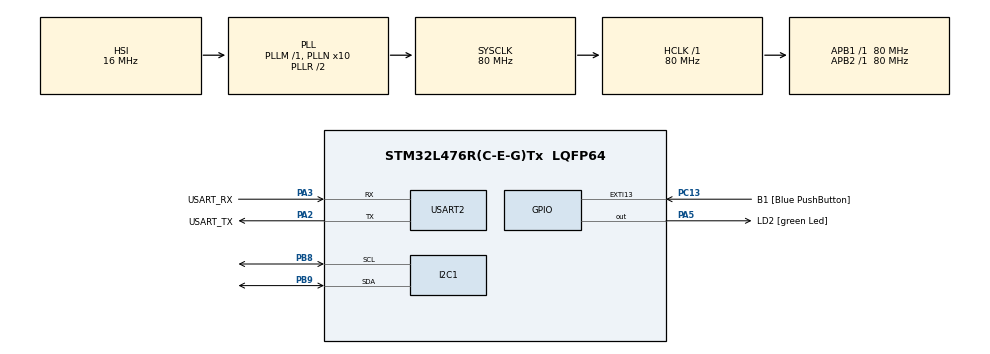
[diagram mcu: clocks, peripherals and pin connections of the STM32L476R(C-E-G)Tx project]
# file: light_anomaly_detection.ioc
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I2C1.Timing=0x10D19CE4
Mcu.Family=STM32L4
Mcu.Name=STM32L476R(C-E-G)Tx
Mcu.Package=LQFP64
NVIC.PriorityGroup=NVIC_PRIORITYGROUP_4
PA13\ (JTMS-SWDIO).GPIO_Label=TMS
PA13\ (JTMS-SWDIO).Mode=Serial_Wire
PA13\ (JTMS-SWDIO).Signal=SYS_JTMS-SWDIO
PA14\ (JTCK-SWCLK).GPIO_Label=TCK
PA14\ (JTCK-SWCLK).Mode=Serial_Wire
PA14\ (JTCK-SWCLK).Signal=SYS_JTCK-SWCLK
PA2.GPIO_Label=USART_TX
PA2.GPIO_Mode=GPIO_MODE_AF_PP
PA2.GPIO_PuPd=GPIO_NOPULL
PA2.GPIO_Speed=GPIO_SPEED_FREQ_VERY_HIGH
PA2.Mode=Asynchronous
PA2.Signal=USART2_TX
PA3.GPIO_Label=USART_RX
PA3.GPIO_Mode=GPIO_MODE_AF_PP
PA3.GPIO_PuPd=GPIO_NOPULL
PA3.GPIO_Speed=GPIO_SPEED_FREQ_VERY_HIGH
PA3.Mode=Asynchronous
PA3.Signal=USART2_RX
PA5.GPIO_Label=LD2 [green Led]
PA5.GPIO_ModeDefaultOutputPP=GPIO_MODE_OUTPUT_PP
PA5.GPIO_PuPd=GPIO_NOPULL
PA5.GPIO_Speed=GPIO_SPEED_FREQ_LOW
PA5.Signal=GPIO_Output
PB3\ (JTDO-TRACESWO).GPIO_Label=SWO
PB3\ (JTDO-TRACESWO).Signal=SYS_JTDO-SWO
PB8.Mode=I2C
PB8.Signal=I2C1_SCL
PB9.Mode=I2C
PB9.Signal=I2C1_SDA
PC13.GPIO_Label=B1 [Blue PushButton]
PC13.GPIO_ModeDefaultEXTI=GPIO_MODE_IT_FALLING
PC13.GPIO_PuPd=GPIO_NOPULL
PC13.Signal=GPXTI13
PC14-OSC32_IN\ (PC14).Mode=LSE-External-Oscillator
PC14-OSC32_IN\ (PC14).Signal=RCC_OSC32_IN
PC15-OSC32_OUT\ (PC15).Mode=LSE-External-Oscillator
PC15-OSC32_OUT\ (PC15).Signal=RCC_OSC32_OUT
PH0-OSC_IN\ (PH0).Signal=RCC_OSC_IN
PH1-OSC_OUT\ (PH1).Signal=RCC_OSC_OUT
ProjectManager.HeapSize=0x200
ProjectManager.StackSize=0x400
ProjectManager.TargetToolchain=STM32CubeIDE
RCC.ADCFreq_Value=64000000
RCC.AHBFreq_Value=80000000
RCC.APB1Freq_Value=80000000
RCC.APB1TimFreq_Value=80000000
RCC.APB2Freq_Value=80000000
RCC.APB2TimFreq_Value=80000000
RCC.CortexFreq_Value=80000000
RCC.HCLKFreq_Value=80000000
RCC.HSE_VALUE=8000000
RCC.HSI_VALUE=16000000
RCC.MSI_VALUE=4000000
RCC.PLLN=10
RCC.PLLSourceVirtual=RCC_PLLSOURCE_HSI
RCC.PREFETCH_ENABLE=1
RCC.SYSCLKFreq_VALUE=80000000
RCC.SYSCLKSource=RCC_SYSCLKSOURCE_PLLCLK
RCC.USBFreq_Value=64000000
RCC.VCOOutputFreq_Value=160000000
USART2.VirtualMode-Asynchronous=VM_ASYNC
board=NUCLEO-L476RG

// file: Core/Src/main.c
/* USER CODE BEGIN Header */
/**
  ******************************************************************************
  * @file           : main.c
  * @brief          : Main program body
  ******************************************************************************
  * @attention
  *
  * Copyright (c) 2024 STMicroelectronics.
  * All rights reserved.
  *
  * This software is licensed under terms that can be found in the LICENSE file
  * in the root directory of this software component.
  * If no LICENSE file comes with this software, it is provided AS-IS.
  *
  ******************************************************************************
  */
/* USER CODE END Header */
#include "main.h"

/* USER CODE BEGIN Includes */
#include "bh1750.h"
#include "stdio.h"
#include "string.h"
#include "NanoEdgeAI.h"
/* USER CODE END Includes */

/* USER CODE BEGIN PD */
#define DATA_INPUT_USER 256
#define AXIS_NUMBER 1
#define NUMBER_LEARN 40
/* USER CODE END PD */

I2C_HandleTypeDef hi2c1;

UART_HandleTypeDef huart2;

/* USER CODE BEGIN PV */
float light;
float light_buffer[DATA_INPUT_USER * AXIS_NUMBER] = { 0 };
uint8_t similarity = 0;
/* USER CODE END PV */

void SystemClock_Config(void);
static void MX_GPIO_Init(void);
static void MX_USART2_UART_Init(void);
static void MX_I2C1_Init(void);
/* USER CODE BEGIN PFP */
void fill_light_buffer();
void Train();
void Inference();
/* USER CODE END PFP */

int main(void)
{

  /* MCU Configuration--------------------------------------------------------*/

  /* Reset of all peripherals, Initializes the Flash interface and the Systick. */
  HAL_Init();

  /* Configure the system clock */
  SystemClock_Config();

  /* Initialize all configured peripherals */
  MX_GPIO_Init();
  MX_USART2_UART_Init();
  MX_I2C1_Init();
  /* USER CODE BEGIN 2 */
  BH1750_Init(&hi2c1);
  neai_anomalydetection_init();  // wait for 1 sec
   Train();
  /* USER CODE END 2 */

  /* Infinite loop */
  /* USER CODE BEGIN WHILE */
  while (1)
  {
	  Inference();
    /* USER CODE END WHILE */

  }
}

void SystemClock_Config(void)
{
  RCC_OscInitTypeDef RCC_OscInitStruct = {0};
  RCC_ClkInitTypeDef RCC_ClkInitStruct = {0};

  /** Configure the main internal regulator output voltage
  */
  if (HAL_PWREx_ControlVoltageScaling(PWR_REGULATOR_VOLTAGE_SCALE1) != HAL_OK)
  {
    Error_Handler();
  }

  /** Initializes the RCC Oscillators according to the specified parameters
  * in the RCC_OscInitTypeDef structure.
  */
  RCC_OscInitStruct.OscillatorType = RCC_OSCILLATORTYPE_HSI;
  RCC_OscInitStruct.HSIState = RCC_HSI_ON;
  RCC_OscInitStruct.HSICalibrationValue = RCC_HSICALIBRATION_DEFAULT;
  RCC_OscInitStruct.PLL.PLLState = RCC_PLL_ON;
  RCC_OscInitStruct.PLL.PLLSource = RCC_PLLSOURCE_HSI;
  RCC_OscInitStruct.PLL.PLLM = 1;
  RCC_OscInitStruct.PLL.PLLN = 10;
  RCC_OscInitStruct.PLL.PLLP = RCC_PLLP_DIV7;
  RCC_OscInitStruct.PLL.PLLQ = RCC_PLLQ_DIV2;
  RCC_OscInitStruct.PLL.PLLR = RCC_PLLR_DIV2;
  if (HAL_RCC_OscConfig(&RCC_OscInitStruct) != HAL_OK)
  {
    Error_Handler();
  }

  /** Initializes the CPU, AHB and APB buses clocks
  */
  RCC_ClkInitStruct.ClockType = RCC_CLOCKTYPE_HCLK|RCC_CLOCKTYPE_SYSCLK
                              |RCC_CLOCKTYPE_PCLK1|RCC_CLOCKTYPE_PCLK2;
  RCC_ClkInitStruct.SYSCLKSource = RCC_SYSCLKSOURCE_PLLCLK;
  RCC_ClkInitStruct.AHBCLKDivider = RCC_SYSCLK_DIV1;
  RCC_ClkInitStruct.APB1CLKDivider = RCC_HCLK_DIV1;
  RCC_ClkInitStruct.APB2CLKDivider = RCC_HCLK_DIV1;

  if (HAL_RCC_ClockConfig(&RCC_ClkInitStruct, FLASH_LATENCY_4) != HAL_OK)
  {
    Error_Handler();
  }
}

static void MX_I2C1_Init(void)
{

  hi2c1.Instance = I2C1;
  hi2c1.Init.Timing = 0x10D19CE4;
  hi2c1.Init.OwnAddress1 = 0;
  hi2c1.Init.AddressingMode = I2C_ADDRESSINGMODE_7BIT;
  hi2c1.Init.DualAddressMode = I2C_DUALADDRESS_DISABLE;
  hi2c1.Init.OwnAddress2 = 0;
  hi2c1.Init.OwnAddress2Masks = I2C_OA2_NOMASK;
  hi2c1.Init.GeneralCallMode = I2C_GENERALCALL_DISABLE;
  hi2c1.Init.NoStretchMode = I2C_NOSTRETCH_DISABLE;
  if (HAL_I2C_Init(&hi2c1) != HAL_OK)
  {
    Error_Handler();
  }

  /** Configure Analogue filter
  */
  if (HAL_I2CEx_ConfigAnalogFilter(&hi2c1, I2C_ANALOGFILTER_ENABLE) != HAL_OK)
  {
    Error_Handler();
  }

  /** Configure Digital filter
  */
  if (HAL_I2CEx_ConfigDigitalFilter(&hi2c1, 0) != HAL_OK)
  {
    Error_Handler();
  }

}

static void MX_USART2_UART_Init(void)
{

  huart2.Instance = USART2;
  huart2.Init.BaudRate = 115200;
  huart2.Init.WordLength = UART_WORDLENGTH_8B;
  huart2.Init.StopBits = UART_STOPBITS_1;
  huart2.Init.Parity = UART_PARITY_NONE;
  huart2.Init.Mode = UART_MODE_TX_RX;
  huart2.Init.HwFlowCtl = UART_HWCONTROL_NONE;
  huart2.Init.OverSampling = UART_OVERSAMPLING_16;
  huart2.Init.OneBitSampling = UART_ONE_BIT_SAMPLE_DISABLE;
  huart2.AdvancedInit.AdvFeatureInit = UART_ADVFEATURE_NO_INIT;
  if (HAL_UART_Init(&huart2) != HAL_OK)
  {
    Error_Handler();
  }

}

static void MX_GPIO_Init(void)
{
  GPIO_InitTypeDef GPIO_InitStruct = {0};

  /* GPIO Ports Clock Enable */
  __HAL_RCC_GPIOC_CLK_ENABLE();
  __HAL_RCC_GPIOH_CLK_ENABLE();
  __HAL_RCC_GPIOA_CLK_ENABLE();
  __HAL_RCC_GPIOB_CLK_ENABLE();

  /*Configure GPIO pin Output Level */
  HAL_GPIO_WritePin(LD2_GPIO_Port, LD2_Pin, GPIO_PIN_RESET);

  /*Configure GPIO pin : B1_Pin */
  GPIO_InitStruct.Pin = B1_Pin;
  GPIO_InitStruct.Mode = GPIO_MODE_IT_FALLING;
  GPIO_InitStruct.Pull = GPIO_NOPULL;
  HAL_GPIO_Init(B1_GPIO_Port, &GPIO_InitStruct);

  /*Configure GPIO pin : LD2_Pin */
  GPIO_InitStruct.Pin = LD2_Pin;
  GPIO_InitStruct.Mode = GPIO_MODE_OUTPUT_PP;
  GPIO_InitStruct.Pull = GPIO_NOPULL;
  GPIO_InitStruct.Speed = GPIO_SPEED_FREQ_LOW;
  HAL_GPIO_Init(LD2_GPIO_Port, &GPIO_InitStruct);

}

/* USER CODE BEGIN 4 */

void fill_light_buffer()
{
    for (int i = 0; i < DATA_INPUT_USER; i++) {
      light  = BH1750_ReadLux(&hi2c1);
      light_buffer[AXIS_NUMBER * i] = light;
      HAL_Delay(3);
  }
}

void Train(void)

{
   for (int i = 0; i < NUMBER_LEARN; i++) {
   fill_light_buffer();
   neai_anomalydetection_learn(light_buffer);
   printf("Training Cycle No: ");
   printf("%d",i);
   printf("\r\n");
   HAL_Delay(200);
  }
   printf("Training Done");

}

void Inference(void)
{
  fill_light_buffer();
  neai_anomalydetection_detect(light_buffer, &similarity);
  printf("Similarity Score is: ");
  printf("%d",similarity);
  printf("\r\n");
}

int __io_putchar(int ch)
{
	HAL_UART_Transmit(&huart2, (uint8_t *) &ch, 1, HAL_MAX_DELAY);
	return ch;
}

/* USER CODE END 4 */

void Error_Handler(void)
{
  __disable_irq();
  while (1)
  {
  }
}
